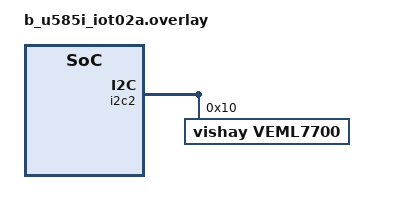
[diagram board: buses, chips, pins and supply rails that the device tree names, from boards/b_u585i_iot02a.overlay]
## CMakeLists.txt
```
# SPDX-License-Identifier: Apache-2.0

cmake_minimum_required(VERSION 3.20.0)
find_package(Zephyr REQUIRED HINTS $ENV{ZEPHYR_BASE})
project(veml7700)

FILE(GLOB app_sources src/*.c)
target_sources(app PRIVATE ${app_sources})
```

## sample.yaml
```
sample:
  name: veml7700 ambient light sensor
common:
  harness: console
  integration_platforms:
    - b_u585i_iot02a
  filter: dt_compat_enabled("vishay,veml7700")
  tags: sensors
  depends_on:
    - i2c
    - veml7700
  harness_config:
    type: multi_line
    ordered: true
    regex:
      - "Observation:(.*)"
tests:
  sample.sensor.veml7700:
    extra_configs:
  sample.sensor.veml7700.trigger:
    extra_configs:
    platform_exclude:
      - b_u585i_iot02a
```

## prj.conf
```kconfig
CONFIG_I2C=y
CONFIG_SENSOR=y
CONFIG_VEML7700=y
CONFIG_CBPRINTF_FP_SUPPORT=y
```

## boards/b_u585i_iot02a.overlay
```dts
&i2c2{
	veml7700:veml7700@10 {
		compatible ="vishay,veml7700";
		reg = <0x10>;
		psm-mode = <0x03>;
	};
};
```

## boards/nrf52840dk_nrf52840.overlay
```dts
/*
 * Copyright (c) 2022 Nikolaus Huber
 *
 * SPDX-License-Identifier: Apache-2.0
 */

&i2c0 {
	veml7700@10 {
		compatible = "vishay,veml7700";
		reg = <0x10>;
		label = "VEML7700";
		als-it = <100>;
		gain = "x2";
		persistence = <1>;
		enable-psm;
		psm-mode = "mode 1";
	};
};
```

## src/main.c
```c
/*
 * Copyright (c) 2024 GOLLA MANOJ KUMAR
 *
 * SPDX-License-Identifier: Apache-2.0
 */

#include <zephyr/kernel.h>
#include <zephyr/device.h>
#include <zephyr/drivers/sensor.h>

static struct sensor_value fid;

static void fetching_device_details(const struct device *dev)
{
	int ret;
	static int count=0;

	ret = sensor_sample_fetch(dev);
	if (ret < 0) {
		printk("Sample Fetch Error %d\n", ret);
		return;
	}

	if(sensor_channel_get(dev, SENSOR_CHAN_LIGHT, &fid) < 0) {
		printk("Channel Get Error %d\n", ret);
		return;
	}
	++count;
	printk("Ambient Light Sensor Data: %.1f\n", sensor_value_to_double(&fid));
	printk("count:%d\n",count);
}

int main(void)
{

	const struct device *i2c_dev = DEVICE_DT_GET_ONE(vishay_veml7700);
	if (!i2c_dev) {
		printk("sensor: device not ready.\n");
		return 0;
	}

	while(1) {
		fetching_device_details(i2c_dev);
		k_msleep(1000);
		}
	return 0;
}
```
